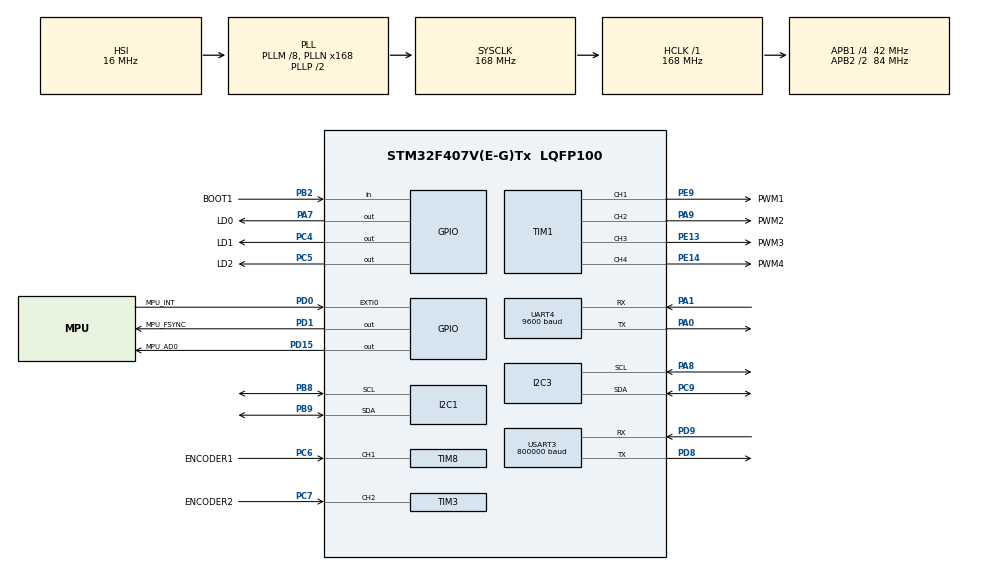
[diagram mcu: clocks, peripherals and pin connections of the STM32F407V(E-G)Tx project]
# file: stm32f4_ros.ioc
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Dma.Request0=UART4_RX
Dma.Request1=USART3_RX
Dma.Request2=USART3_TX
Dma.UART4_RX.0.Direction=DMA_PERIPH_TO_MEMORY
Dma.UART4_RX.0.FIFOMode=DMA_FIFOMODE_DISABLE
Dma.UART4_RX.0.Instance=DMA1_Stream2
Dma.UART4_RX.0.MemDataAlignment=DMA_MDATAALIGN_BYTE
Dma.UART4_RX.0.MemInc=DMA_MINC_ENABLE
Dma.UART4_RX.0.Mode=DMA_CIRCULAR
Dma.UART4_RX.0.PeriphDataAlignment=DMA_PDATAALIGN_BYTE
Dma.UART4_RX.0.PeriphInc=DMA_PINC_DISABLE
Dma.UART4_RX.0.Priority=DMA_PRIORITY_LOW
Dma.USART3_RX.1.Direction=DMA_PERIPH_TO_MEMORY
Dma.USART3_RX.1.FIFOMode=DMA_FIFOMODE_DISABLE
Dma.USART3_RX.1.Instance=DMA1_Stream1
Dma.USART3_RX.1.MemDataAlignment=DMA_MDATAALIGN_BYTE
Dma.USART3_RX.1.MemInc=DMA_MINC_ENABLE
Dma.USART3_RX.1.Mode=DMA_NORMAL
Dma.USART3_RX.1.PeriphDataAlignment=DMA_PDATAALIGN_BYTE
Dma.USART3_RX.1.PeriphInc=DMA_PINC_DISABLE
Dma.USART3_RX.1.Priority=DMA_PRIORITY_HIGH
Dma.USART3_TX.2.Direction=DMA_MEMORY_TO_PERIPH
Dma.USART3_TX.2.FIFOMode=DMA_FIFOMODE_DISABLE
Dma.USART3_TX.2.Instance=DMA1_Stream3
Dma.USART3_TX.2.MemDataAlignment=DMA_MDATAALIGN_BYTE
Dma.USART3_TX.2.MemInc=DMA_MINC_ENABLE
Dma.USART3_TX.2.Mode=DMA_NORMAL
Dma.USART3_TX.2.PeriphDataAlignment=DMA_PDATAALIGN_BYTE
Dma.USART3_TX.2.PeriphInc=DMA_PINC_DISABLE
Dma.USART3_TX.2.Priority=DMA_PRIORITY_HIGH
FREERTOS.BinarySemaphores01=GPSIntSem,Dynamic,NULL
FREERTOS.INCLUDE_vTaskDelayUntil=1
FREERTOS.Queues01=PublishQueue,16,uint32_t,0,Dynamic,NULL,NULL;IMUQueue,16,uint32_t,0,Dynamic,NULL,NULL;MovementQueue,16,uint32_t,0,Dynamic,NULL,NULL
FREERTOS.Tasks01=publishTask,0,256,StartPublishTask,As weak,NULL,Dynamic,NULL,NULL
Mcu.Family=STM32F4
Mcu.Name=STM32F407V(E-G)Tx
Mcu.Package=LQFP100
Mcu.UserConstants=PWM_FREQ,40000;PWM_RESOLUTION,1000;ENCODER_COUNTER,10000
NVIC.DMA1_Stream1_IRQn=true\:5\:0\:false\:false\:true\:true\:true
NVIC.DMA1_Stream2_IRQn=true\:5\:0\:false\:false\:true\:true\:false
NVIC.DMA1_Stream3_IRQn=true\:5\:0\:false\:false\:true\:true\:true
NVIC.EXTI0_IRQn=true\:5\:0\:false\:false\:true\:true\:true
NVIC.PriorityGroup=NVIC_PRIORITYGROUP_4
NVIC.TIM3_IRQn=true\:5\:0\:false\:false\:true\:true\:true
NVIC.TIM6_DAC_IRQn=true\:5\:0\:false\:false\:true\:true\:true
NVIC.TIM8_TRG_COM_TIM14_IRQn=true\:0\:0\:false\:false\:true\:false\:false
NVIC.TimeBase=TIM8_TRG_COM_TIM14_IRQn
NVIC.TimeBaseIP=TIM14
NVIC.UART4_IRQn=true\:5\:0\:false\:false\:true\:true\:true
NVIC.USART3_IRQn=true\:5\:0\:false\:false\:true\:true\:true
PA0-WKUP.Mode=Asynchronous
PA0-WKUP.Signal=UART4_TX
PA1.Mode=Asynchronous
PA1.Signal=UART4_RX
PA13.Signal=SYS_JTMS-SWDIO
PA14.Signal=SYS_JTCK-SWCLK
PA7.GPIO_Label=LD0
PA7.GPIO_ModeDefaultOutputPP=GPIO_MODE_OUTPUT_PP
PA7.GPIO_PuPd=GPIO_NOPULL
PA7.GPIO_Speed=GPIO_SPEED_FREQ_LOW
PA7.PinState=GPIO_PIN_SET
PA7.Signal=GPIO_Output
PA8.GPIO_Mode=GPIO_MODE_AF_OD
PA8.GPIO_PuPdOD=GPIO_PULLUP
PA8.GPIO_Speed=GPIO_SPEED_FREQ_VERY_HIGH
PA8.Mode=I2C
PA8.Signal=I2C3_SCL
PA9.GPIO_Label=PWM2
PA9.Signal=S_TIM1_CH2
PB2.GPIO_Label=BOOT1
PB2.GPIO_Mode=GPIO_MODE_INPUT
PB2.GPIO_PuPd=GPIO_NOPULL
PB2.Signal=GPIO_Input
PB3.Signal=SYS_JTDO-SWO
PB8.Mode=I2C
PB8.Signal=I2C1_SCL
PB9.Mode=I2C
PB9.Signal=I2C1_SDA
PC14-OSC32_IN.Mode=LSE-External-Oscillator
PC14-OSC32_IN.Signal=RCC_OSC32_IN
PC15-OSC32_OUT.Mode=LSE-External-Oscillator
PC15-OSC32_OUT.Signal=RCC_OSC32_OUT
PC4.GPIO_Label=LD1
PC4.GPIO_ModeDefaultOutputPP=GPIO_MODE_OUTPUT_PP
PC4.GPIO_PuPd=GPIO_NOPULL
PC4.GPIO_Speed=GPIO_SPEED_FREQ_LOW
PC4.PinState=GPIO_PIN_SET
PC4.Signal=GPIO_Output
PC5.GPIO_Label=LD2
PC5.GPIO_ModeDefaultOutputPP=GPIO_MODE_OUTPUT_PP
PC5.GPIO_PuPd=GPIO_NOPULL
PC5.GPIO_Speed=GPIO_SPEED_FREQ_LOW
PC5.PinState=GPIO_PIN_SET
PC5.Signal=GPIO_Output
PC6.GPIO_Label=ENCODER1
PC6.Signal=S_TIM8_CH1
PC7.GPIO_Label=ENCODER2
PC7.Signal=S_TIM3_CH2
PC9.GPIO_Mode=GPIO_MODE_AF_OD
PC9.GPIO_PuPdOD=GPIO_PULLUP
PC9.GPIO_Speed=GPIO_SPEED_FREQ_VERY_HIGH
PC9.Mode=I2C
PC9.Signal=I2C3_SDA
PD0.GPIO_Label=MPU_INT
PD0.GPIO_ModeDefaultEXTI=GPIO_MODE_IT_RISING
PD0.GPIO_PuPd=GPIO_NOPULL
PD0.Signal=GPXTI0
PD1.GPIO_Label=MPU_FSYNC
PD1.GPIO_ModeDefaultOutputPP=GPIO_MODE_OUTPUT_PP
PD1.GPIO_PuPd=GPIO_NOPULL
PD1.GPIO_Speed=GPIO_SPEED_FREQ_LOW
PD1.PinState=GPIO_PIN_RESET
PD1.Signal=GPIO_Output
PD11.Signal=USART3_CTS
PD12.Signal=USART3_RTS
PD15.GPIO_Label=MPU_AD0
PD15.GPIO_ModeDefaultOutputPP=GPIO_MODE_OUTPUT_PP
PD15.GPIO_PuPd=GPIO_NOPULL
PD15.GPIO_Speed=GPIO_SPEED_FREQ_LOW
PD15.PinState=GPIO_PIN_RESET
PD15.Signal=GPIO_Output
PD8.Mode=Asynchronous
PD8.Signal=USART3_TX
PD9.Mode=Asynchronous
PD9.Signal=USART3_RX
PE13.GPIO_Label=PWM3
PE13.Signal=S_TIM1_CH3
PE14.GPIO_Label=PWM4
PE14.Signal=S_TIM1_CH4
PE9.GPIO_Label=PWM1
PE9.Signal=S_TIM1_CH1
PH0-OSC_IN.Mode=HSE-External-Oscillator
PH0-OSC_IN.Signal=RCC_OSC_IN
PH1-OSC_OUT.Mode=HSE-External-Oscillator
PH1-OSC_OUT.Signal=RCC_OSC_OUT
ProjectManager.HeapSize=0x200
ProjectManager.StackSize=0x400
ProjectManager.TargetToolchain=SW4STM32
RCC.48MHZClocksFreq_Value=48000000
RCC.AHBFreq_Value=168000000
RCC.APB1CLKDivider=RCC_HCLK_DIV4
RCC.APB1Freq_Value=42000000
RCC.APB1TimFreq_Value=84000000
RCC.APB2CLKDivider=RCC_HCLK_DIV2
RCC.APB2Freq_Value=84000000
RCC.APB2TimFreq_Value=168000000
RCC.CortexFreq_Value=168000000
RCC.HCLKFreq_Value=168000000
RCC.HSE_VALUE=8000000
RCC.HSI_VALUE=16000000
RCC.PLLM=8
RCC.PLLN=168
RCC.PLLQ=7
RCC.SYSCLKFreq_VALUE=168000000
RCC.SYSCLKSource=RCC_SYSCLKSOURCE_PLLCLK
RCC.VCOOutputFreq_Value=336000000
SH.S_TIM1_CH1.0=TIM1_CH1,PWM Generation1 CH1
SH.S_TIM1_CH2.0=TIM1_CH2,PWM Generation2 CH2
SH.S_TIM1_CH3.0=TIM1_CH3,PWM Generation3 CH3
SH.S_TIM1_CH4.0=TIM1_CH4,PWM Generation4 CH4
SH.S_TIM3_CH2.0=TIM3_CH2,Input_Capture2_from_TI2
SH.S_TIM8_CH1.0=TIM8_CH1,Input_Capture1_from_TI1
TIM1.Channel-PWM\ Generation1\ CH1=TIM_CHANNEL_1
TIM1.Channel-PWM\ Generation2\ CH2=TIM_CHANNEL_2
TIM1.Channel-PWM\ Generation3\ CH3=TIM_CHANNEL_3
TIM1.Channel-PWM\ Generation4\ CH4=TIM_CHANNEL_4
TIM1.Period=PWM_RESOLUTION
TIM1.Prescaler=SystemCoreClock/(PWM_FREQ*PWM_RESOLUTION)-1
TIM13.Period=50000
TIM13.Prescaler=SystemCoreClock/2000000-1
TIM2.Period=0xffffffff
TIM2.Prescaler=64000-1
TIM3.Channel-Input_Capture2_from_TI2=TIM_CHANNEL_2
TIM3.ICFilter_CH2=15
TIM3.Period=ENCODER_COUNTER
TIM6.Period=1
TIM6.Prescaler=168000-1
TIM8.Channel-Input_Capture1_from_TI1=TIM_CHANNEL_1
TIM8.ICFilter_CH1=15
TIM8.Period=ENCODER_COUNTER
UART4.BaudRate=9600
UART4.VirtualMode=Asynchronous
USART3.BaudRate=800000
USART3.OverSampling=UART_OVERSAMPLING_16
USART3.VirtualMode=VM_ASYNC
USART3.WordLength=WORDLENGTH_8B
VP_FREERTOS_VS_ENABLE.Mode=Enabled
VP_SYS_VS_tim14.Mode=TIM14
VP_TIM13_VS_ClockSourceINT.Mode=Enable_Timer
VP_TIM2_VS_ClockSourceINT.Mode=Internal
VP_TIM6_VS_ClockSourceINT.Mode=Enable_Timer
board=STM32F4DISCOVERY

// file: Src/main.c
/**
  ******************************************************************************
  * @file           : main.c
  * @brief          : Main program body
  ******************************************************************************
  * This notice applies to any and all portions of this file
  * that are not between comment pairs USER CODE BEGIN and
  * USER CODE END. Other portions of this file, whether
  * inserted by the user or by software development tools
  * are owned by their respective copyright owners.
  *
  * Copyright (c) 2020 STMicroelectronics International N.V.
  * All rights reserved.
  *
  * Redistribution and use in source and binary forms, with or without
  * modification, are permitted, provided that the following conditions are met:
  *
  * 1. Redistribution of source code must retain the above copyright notice,
  *    this list of conditions and the following disclaimer.
  * 2. Redistributions in binary form must reproduce the above copyright notice,
  *    this list of conditions and the following disclaimer in the documentation
  *    and/or other materials provided with the distribution.
  * 3. Neither the name of STMicroelectronics nor the names of other
  *    contributors to this software may be used to endorse or promote products
  *    derived from this software without specific written permission.
  * 4. This software, including modifications and/or derivative works of this
  *    software, must execute solely and exclusively on microcontroller or
  *    microprocessor devices manufactured by or for STMicroelectronics.
  * 5. Redistribution and use of this software other than as permitted under
  *    this license is void and will automatically terminate your rights under
  *    this license.
  *
  * THIS SOFTWARE IS PROVIDED BY STMICROELECTRONICS AND CONTRIBUTORS "AS IS"
  * AND ANY EXPRESS, IMPLIED OR STATUTORY WARRANTIES, INCLUDING, BUT NOT
  * LIMITED TO, THE IMPLIED WARRANTIES OF MERCHANTABILITY, FITNESS FOR A
  * PARTICULAR PURPOSE AND NON-INFRINGEMENT OF THIRD PARTY INTELLECTUAL PROPERTY
  * RIGHTS ARE DISCLAIMED TO THE FULLEST EXTENT PERMITTED BY LAW. IN NO EVENT
  * SHALL STMICROELECTRONICS OR CONTRIBUTORS BE LIABLE FOR ANY DIRECT, INDIRECT,
  * INCIDENTAL, SPECIAL, EXEMPLARY, OR CONSEQUENTIAL DAMAGES (INCLUDING, BUT NOT
  * LIMITED TO, PROCUREMENT OF SUBSTITUTE GOODS OR SERVICES; LOSS OF USE, DATA,
  * OR PROFITS; OR BUSINESS INTERRUPTION) HOWEVER CAUSED AND ON ANY THEORY OF
  * LIABILITY, WHETHER IN CONTRACT, STRICT LIABILITY, OR TORT (INCLUDING
  * NEGLIGENCE OR OTHERWISE) ARISING IN ANY WAY OUT OF THE USE OF THIS SOFTWARE,
  * EVEN IF ADVISED OF THE POSSIBILITY OF SUCH DAMAGE.
  *
  ******************************************************************************
  */
#include "main.h"
#include "stm32f4xx_hal.h"
#include "cmsis_os.h"
#include "dma.h"
#include "i2c.h"
#include "tim.h"
#include "usart.h"
#include "gpio.h"

/* USER CODE BEGIN Includes */
#include "mainpp.h"
/* USER CODE END Includes */

/* USER CODE BEGIN PV */
/* Private variables ---------------------------------------------------------*/
UART_HandleTypeDef huart_gps;	//sera huart4
DMA_HandleTypeDef hdma_gps_rx;	//sera hdma_uart4_rx
/* USER CODE END PV */

void SystemClock_Config(void);
void MX_FREERTOS_Init(void);

/* USER CODE BEGIN PFP */
/* Private function prototypes -----------------------------------------------*/

/* USER CODE END PFP */

/* USER CODE BEGIN 0 */
volatile char gps_data[8];
volatile uint32_t mpu_int_state = 0, uart3_status = 0;
volatile uint8_t buffer[PINGPONG_SIZE] = {0}, databuf[PINGPONG_SIZE] = {0};
/* USER CODE END 0 */

int main(void)
{
  /* USER CODE BEGIN 1 */
//	int i = 100;
  /* USER CODE END 1 */

  /* MCU Configuration----------------------------------------------------------*/

  /* Reset of all peripherals, Initializes the Flash interface and the Systick. */
  HAL_Init();

  /* Configure the system clock */
  SystemClock_Config();

  /* Initialize all configured peripherals */
  MX_GPIO_Init();
  MX_DMA_Init();
  MX_TIM2_Init();
  MX_I2C3_Init();
  MX_USART3_UART_Init();
  MX_I2C1_Init();
  MX_UART4_Init();
  MX_TIM1_Init();
  MX_TIM3_Init();
  MX_TIM8_Init();
  MX_TIM6_Init();
  MX_TIM13_Init();
  /* USER CODE BEGIN 2 */
  HAL_GPIO_WritePin(LD0_GPIO_Port,LD0_Pin,GPIO_PIN_SET);
  HAL_GPIO_WritePin(LD1_GPIO_Port,LD1_Pin,GPIO_PIN_SET);
  HAL_GPIO_WritePin(LD2_GPIO_Port,LD2_Pin,GPIO_PIN_SET);
  HAL_TIM_PWM_Start(&htim1,TIM_CHANNEL_1);
  HAL_TIM_PWM_Start(&htim1,TIM_CHANNEL_2);
  HAL_TIM_PWM_Start(&htim1,TIM_CHANNEL_3);
  HAL_TIM_PWM_Start(&htim1,TIM_CHANNEL_4);

  HAL_TIM_IC_Start_IT(&htim8,TIM_CHANNEL_1);
  HAL_TIM_IC_Start_IT(&htim3,TIM_CHANNEL_2);
  HAL_TIM_Base_Start(&htim13);
  HAL_TIM_Base_Start_IT(&htim6);

  /* USER CODE END 2 */

  /* Call init function for freertos objects (in freertos.c) */
  MX_FREERTOS_Init();

  /* Start scheduler */
  osKernelStart();

  /* We should never get here as control is now taken by the scheduler */

  /* Infinite loop */
  while (1)
  {

  /* USER CODE BEGIN 3 */
/*
	  __HAL_TIM_SetCompare(&htim1,TIM_CHANNEL_1,0);
	  __HAL_TIM_SetCompare(&htim1,TIM_CHANNEL_2,210);
	  __HAL_TIM_SetCompare(&htim1,TIM_CHANNEL_3,210);
	  __HAL_TIM_SetCompare(&htim1,TIM_CHANNEL_4,0);
*/
  }
  /* USER CODE END 3 */

}

void SystemClock_Config(void)
{

  RCC_OscInitTypeDef RCC_OscInitStruct;
  RCC_ClkInitTypeDef RCC_ClkInitStruct;

    /**Configure the main internal regulator output voltage
    */
  __HAL_RCC_PWR_CLK_ENABLE();

  __HAL_PWR_VOLTAGESCALING_CONFIG(PWR_REGULATOR_VOLTAGE_SCALE1);

    /**Initializes the CPU, AHB and APB busses clocks
    */
  RCC_OscInitStruct.OscillatorType = RCC_OSCILLATORTYPE_HSI;
  RCC_OscInitStruct.HSIState = RCC_HSI_ON;
  RCC_OscInitStruct.HSICalibrationValue = 16;
  RCC_OscInitStruct.PLL.PLLState = RCC_PLL_ON;
  RCC_OscInitStruct.PLL.PLLSource = RCC_PLLSOURCE_HSI;
  RCC_OscInitStruct.PLL.PLLM = 8;
  RCC_OscInitStruct.PLL.PLLN = 168;
  RCC_OscInitStruct.PLL.PLLP = RCC_PLLP_DIV2;
  RCC_OscInitStruct.PLL.PLLQ = 7;
  if (HAL_RCC_OscConfig(&RCC_OscInitStruct) != HAL_OK)
  {
    _Error_Handler(__FILE__, __LINE__);
  }

    /**Initializes the CPU, AHB and APB busses clocks
    */
  RCC_ClkInitStruct.ClockType = RCC_CLOCKTYPE_HCLK|RCC_CLOCKTYPE_SYSCLK
                              |RCC_CLOCKTYPE_PCLK1|RCC_CLOCKTYPE_PCLK2;
  RCC_ClkInitStruct.SYSCLKSource = RCC_SYSCLKSOURCE_PLLCLK;
  RCC_ClkInitStruct.AHBCLKDivider = RCC_SYSCLK_DIV1;
  RCC_ClkInitStruct.APB1CLKDivider = RCC_HCLK_DIV4;
  RCC_ClkInitStruct.APB2CLKDivider = RCC_HCLK_DIV2;

  if (HAL_RCC_ClockConfig(&RCC_ClkInitStruct, FLASH_LATENCY_5) != HAL_OK)
  {
    _Error_Handler(__FILE__, __LINE__);
  }

    /**Configure the Systick interrupt time
    */
  HAL_SYSTICK_Config(HAL_RCC_GetHCLKFreq()/1000);

    /**Configure the Systick
    */
  HAL_SYSTICK_CLKSourceConfig(SYSTICK_CLKSOURCE_HCLK);

  /* SysTick_IRQn interrupt configuration */
  HAL_NVIC_SetPriority(SysTick_IRQn, 15, 0);
}

/* USER CODE BEGIN 4 */
void HAL_TIM_IC_CaptureCallback(TIM_HandleTypeDef *htim)
{
//	uint8_t aux[5];
	if (htim->Instance == TIM3)
	{
		HAL_GPIO_TogglePin(LD2_GPIO_Port,LD2_Pin);
	}
	else if(htim->Instance == TIM8)
	{
		HAL_GPIO_TogglePin(LD1_GPIO_Port,LD1_Pin);
	}
	else
	{
		HAL_GPIO_TogglePin(LD0_GPIO_Port,LD0_Pin);
	}
}

/* FIXME: FLASH Functions not working properly */

// SECTOR 11: 0x080E0000 - 0x080EFFFF
void Flash_Write(uint32_t address, uint32_t data)
{
	HAL_FLASH_Unlock();
	FLASH_Erase_Sector(FLASH_SECTOR_11, VOLTAGE_RANGE_3);
	while(HAL_FLASH_Program(FLASH_TYPEPROGRAM_WORD, address, data) != HAL_OK);
	HAL_FLASH_Lock();
}

uint32_t Flash_Read(uint32_t address)
{
	uint32_t data;
	data = *(uint32_t*) address;
	return data;
}

/* USER CODE END 4 */

void HAL_TIM_PeriodElapsedCallback(TIM_HandleTypeDef *htim)
{
  if (htim->Instance == TIM14) {
    HAL_IncTick();
  }
}

void _Error_Handler(char *file, int line)
{
  while(1)
  {
  }
}

/************************ (C) COPYRIGHT STMicroelectronics *****END OF FILE****/

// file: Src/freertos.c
/**
  ******************************************************************************
  * File Name          : freertos.c
  * Description        : Code for freertos applications
  ******************************************************************************
  * This notice applies to any and all portions of this file
  * that are not between comment pairs USER CODE BEGIN and
  * USER CODE END. Other portions of this file, whether
  * inserted by the user or by software development tools
  * are owned by their respective copyright owners.
  *
  * Copyright (c) 2020 STMicroelectronics International N.V.
  * All rights reserved.
  *
  * Redistribution and use in source and binary forms, with or without
  * modification, are permitted, provided that the following conditions are met:
  *
  * 1. Redistribution of source code must retain the above copyright notice,
  *    this list of conditions and the following disclaimer.
  * 2. Redistributions in binary form must reproduce the above copyright notice,
  *    this list of conditions and the following disclaimer in the documentation
  *    and/or other materials provided with the distribution.
  * 3. Neither the name of STMicroelectronics nor the names of other
  *    contributors to this software may be used to endorse or promote products
  *    derived from this software without specific written permission.
  * 4. This software, including modifications and/or derivative works of this
  *    software, must execute solely and exclusively on microcontroller or
  *    microprocessor devices manufactured by or for STMicroelectronics.
  * 5. Redistribution and use of this software other than as permitted under
  *    this license is void and will automatically terminate your rights under
  *    this license.
  *
  * THIS SOFTWARE IS PROVIDED BY STMICROELECTRONICS AND CONTRIBUTORS "AS IS"
  * AND ANY EXPRESS, IMPLIED OR STATUTORY WARRANTIES, INCLUDING, BUT NOT
  * LIMITED TO, THE IMPLIED WARRANTIES OF MERCHANTABILITY, FITNESS FOR A
  * PARTICULAR PURPOSE AND NON-INFRINGEMENT OF THIRD PARTY INTELLECTUAL PROPERTY
  * RIGHTS ARE DISCLAIMED TO THE FULLEST EXTENT PERMITTED BY LAW. IN NO EVENT
  * SHALL STMICROELECTRONICS OR CONTRIBUTORS BE LIABLE FOR ANY DIRECT, INDIRECT,
  * INCIDENTAL, SPECIAL, EXEMPLARY, OR CONSEQUENTIAL DAMAGES (INCLUDING, BUT NOT
  * LIMITED TO, PROCUREMENT OF SUBSTITUTE GOODS OR SERVICES; LOSS OF USE, DATA,
  * OR PROFITS; OR BUSINESS INTERRUPTION) HOWEVER CAUSED AND ON ANY THEORY OF
  * LIABILITY, WHETHER IN CONTRACT, STRICT LIABILITY, OR TORT (INCLUDING
  * NEGLIGENCE OR OTHERWISE) ARISING IN ANY WAY OUT OF THE USE OF THIS SOFTWARE,
  * EVEN IF ADVISED OF THE POSSIBILITY OF SUCH DAMAGE.
  *
  ******************************************************************************
  */

#include "FreeRTOS.h"
#include "task.h"
#include "cmsis_os.h"

osThreadId publishTaskHandle;
osMessageQId PublishQueueHandle;
osMessageQId IMUQueueHandle;
osMessageQId MovementQueueHandle;
osSemaphoreId GPSIntSemHandle;

/* USER CODE BEGIN Variables */
osThreadId MPU9250SendTaskHandle;

osThreadId MPU9250TaskHandle;
osThreadId IMUCalibrationTaskHandle;
osThreadId GPSTaskHandle;
osThreadId MovementTaskHandle;
/* USER CODE END Variables */

void StartPublishTask(void const * argument);

void MX_FREERTOS_Init(void); /* (MISRA C 2004 rule 8.1) */

/* Hook prototypes */

/* Init FreeRTOS */

void MX_FREERTOS_Init(void) {

  /* Create the semaphores(s) */
  /* definition and creation of GPSIntSem */
  osSemaphoreDef(GPSIntSem);
  GPSIntSemHandle = osSemaphoreCreate(osSemaphore(GPSIntSem), 1);

  /* Create the thread(s) */
  /* definition and creation of publishTask */
  osThreadDef(publishTask, StartPublishTask, osPriorityNormal, 0, 256);
  publishTaskHandle = osThreadCreate(osThread(publishTask), NULL);

  /* Create the queue(s) */
  /* definition and creation of PublishQueue */
/* what about the sizeof here??? cd native code */
  osMessageQDef(PublishQueue, 16, uint32_t);
  PublishQueueHandle = osMessageCreate(osMessageQ(PublishQueue), NULL);

  /* definition and creation of IMUQueue */
/* what about the sizeof here??? cd native code */
  osMessageQDef(IMUQueue, 16, uint32_t);
  IMUQueueHandle = osMessageCreate(osMessageQ(IMUQueue), NULL);

  /* definition and creation of MovementQueue */
/* what about the sizeof here??? cd native code */
  osMessageQDef(MovementQueue, 16, uint32_t);
  MovementQueueHandle = osMessageCreate(osMessageQ(MovementQueue), NULL);

}

/* StartPublishTask function */
__weak void StartPublishTask(void const * argument)
{

  for(;;)
  {
    osDelay(1);
  }
}

/************************ (C) COPYRIGHT STMicroelectronics *****END OF FILE****/
